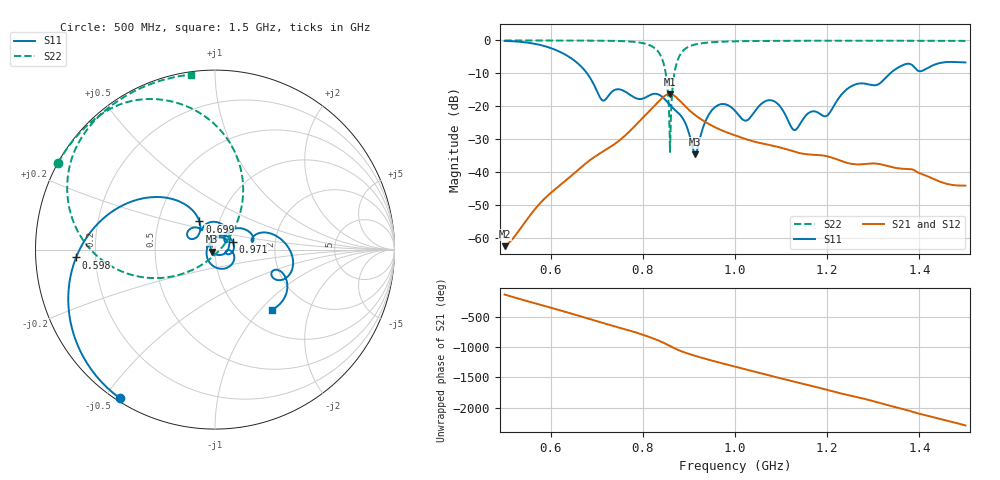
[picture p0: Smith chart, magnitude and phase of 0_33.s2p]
! TOUCHSTONE file generated by CST MICROWAVE STUDIO
! Date and time: Mon Sep 28 14:14:35 2020
! Project name: Scenario_1_Free_SPace.cst
! Parameters = {dx1=727.5; L_HA=400; MT=2.54; Rad_Dielectric=30; Rad_Lower=7.3; Rad_Upper=30; a_HA=580; a_WG=246; b_HA=500; b_WG=121; c_HA=0; c_WG=187; d_feed=85; h_feed=15; h_lower=18; h_upper=40}
! Header version: 2018
! Port assignment regex: !\s*Touchstone port\s*([0-9]+)\s*=\s*(CST MWS port|CST DS port)\s*([0-9]+|Zmin|Zmax)\s*\(\"(.*)\"\)(\s*mode\s*([0-9]+))?.*
! Touchstone port assignment:
! Touchstone port 1 = CST MWS port 1 ("")
! Touchstone port 2 = CST MWS port 2 ("")
# GHz S DB R 50
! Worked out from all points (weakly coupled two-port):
!   1003 points, 500 MHz to 1.5 GHz, reference 50 ohm
!   highest |S21| = -16.25 dB at 858 MHz (marker M1); lowest = -62.4 dB at 500 MHz (marker M2)
!   lowest |S11| = -34.5 dB at 914 MHz (marker M3), VSWR 1.04, Z = 48.5 - j1.04 ohm
!   |S11| at or under -10 dB: 679 MHz to 1.336 GHz (657.4 MHz wide, 65.2 % of centre)
!   |S22| runs from -33.8 to 0.0 dB; largest |S21 - S12| = 4e-05
!   S11 on the Smith chart (normalised r, x): 500 MHz: 0.01, -0.55; 598 MHz: 0.13, -0.03; 699 MHz: 0.80, +0.26; 971 MHz: 1.21, +0.11; 1.5 GHz: 1.35, -1.16
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0.5  -0.15 -122.6  -62.39 -136.0  -62.39 -136.0  -0.01 151.1
0.598  -2.21 -176.8  -46.51 13.0  -46.51 13.0  -0.02 144.3
0.667  -8.03 133.2  -38.35 -139.6  -38.35 -139.6  -0.04 138.3
0.699  -14.93 118.9  -34.96 146.7  -34.96 146.7  -0.07 134.9
0.782  -17.32 124.5  -26.03 -34.1  -26.03 -34.1  -0.44 119.4
0.834  -16.39 82.2  -18.52 -175.0  -18.52 -175.0  -3.53 87.4
0.848  -17.88 56.9  -16.76 137.0  -16.76 137.0  -8.70 64.7
0.858  -19.42 41.2  -16.25 98.4  -16.25 98.4  -27.44 18.9
0.877  -22.00 11.8  -17.86 28.9  -17.86 28.9  -5.45 -166.8
0.914  -34.48 -145.4  -22.69 -68.3  -22.69 -68.3  -1.20 160.5
0.941  -23.03 87.1  -25.16 -127.2  -25.16 -127.2  -0.64 151.1
0.971  -19.30 23.8  -27.25 171.7  -27.25 171.7  -0.38 144.7
1  -21.34 -16.7  -28.78 114.1  -28.78 114.1  -0.27 140.2
1.025  -24.29 -9.9  -29.99 65.3  -29.99 65.3  -0.21 137.1
1.081  -18.23 -53.1  -31.89 -42.2  -31.89 -42.2  -0.13 131.4
1.129  -27.20 159.2  -33.71 -134.9  -33.71 -134.9  -0.11 127.2
1.167  -21.53 46.4  -34.63 156.3  -34.63 156.3  -0.10 124.1
1.198  -22.94 41.2  -35.07 94.7  -35.07 94.7  -0.09 121.7
1.249  -14.17 36.2  -37.32 -1.1  -37.32 -1.1  -0.08 117.9
1.334  -10.31 18.0  -38.19 -166.0  -38.19 -166.0  -0.09 111.4
1.372  -7.12 -8.9  -38.98 119.6  -38.97 119.6  -0.09 108.5
1.5  -6.68 -47.0  -44.03 -135.6  -44.08 -135.8  -0.14 97.8
